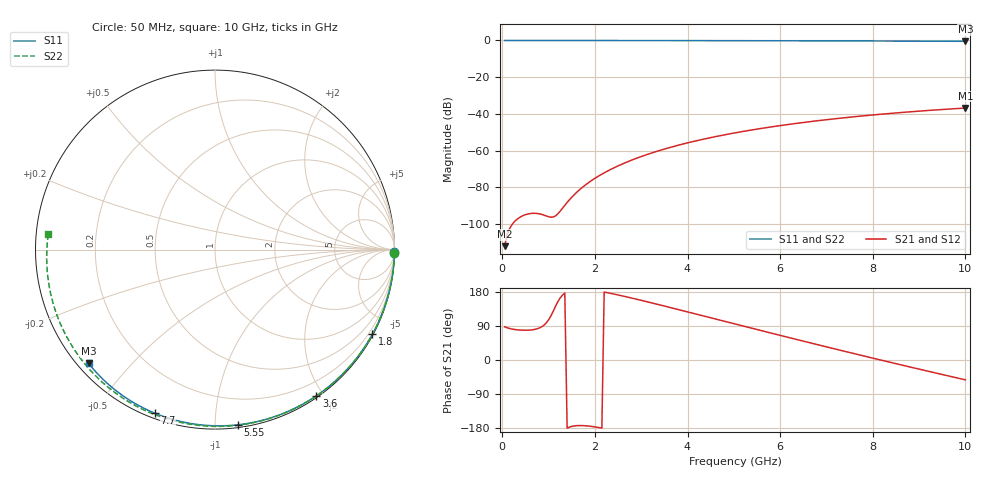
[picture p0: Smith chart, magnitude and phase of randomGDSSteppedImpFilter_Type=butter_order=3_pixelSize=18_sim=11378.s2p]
! freq	dB(S11)	phase(S11)	dB(S12)	phase(S12)
!  dB(S21)	phase(S21)	dB(S22)	phase(S22)
!S-par simulation data
#  GHz  S  DB  R 50
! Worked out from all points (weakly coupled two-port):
!   200 points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, 50 MHz to 10 GHz, reference 50 ohm
!   highest |S21| = -36.84 dB at 10 GHz (marker M1); lowest = -112.1 dB at 50 MHz (marker M2)
!   lowest |S11| = -0.5 dB at 10 GHz (marker M3), VSWR 37.00, Z = 1.55 - j19.2 ohm
!   |S11| at or under -10 dB: nowhere
!   |S22| runs from -0.6 to 0.0 dB; largest |S21 - S12| = 0
!   S11 on the Smith chart (normalised r, x): 50 MHz: open; 1.8 GHz: 0.03, -3.97; 3.6 GHz: 0.02, -1.91; 5.55 GHz: 0.02, -1.14; 7.7 GHz: 0.02, -0.70; 10 GHz: 0.03, -0.38
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0.05  -0.00 -0.8  -112.11 87.5  -112.11 87.5  -0.00 -1.0
0.45  -0.01 -7.2  -95.44 78.6  -95.44 78.6  -0.01 -9.3
0.85  -0.02 -13.5  -94.80 87.6  -94.80 87.6  -0.02 -17.5
1.25  -0.02 -19.8  -93.01 163.8  -93.01 163.8  -0.03 -25.6
1.7  -0.03 -26.8  -80.66 -173.0  -80.66 -173.0  -0.04 -34.7
1.75  -0.04 -27.5  -79.63 -173.2  -79.63 -173.2  -0.05 -35.7
1.8  -0.04 -28.3  -78.64 -173.6  -78.64 -173.6  -0.05 -36.7
2.1  -0.04 -32.9  -73.59 -178.5  -73.59 -178.5  -0.05 -42.6
2.5  -0.05 -39.0  -68.35 171.7  -68.35 171.7  -0.06 -50.4
2.9  -0.06 -45.0  -64.18 160.4  -64.18 160.4  -0.08 -58.1
3.4  -0.07 -52.4  -59.94 145.5  -59.94 145.5  -0.09 -67.6
3.6  -0.07 -55.3  -58.46 139.3  -58.46 139.3  -0.10 -71.3
4.3  -0.09 -65.3  -54.04 117.6  -54.04 117.6  -0.12 -84.1
5.05  -0.12 -75.7  -50.24 94.3  -50.24 94.3  -0.15 -97.5
5.55  -0.14 -82.5  -48.11 78.8  -48.11 78.8  -0.18 -106.2
6.1  -0.16 -89.8  -46.05 61.9  -46.05 61.9  -0.21 -115.7
6.7  -0.19 -97.5  -44.08 43.7  -44.08 43.7  -0.25 -126.0
7.7  -0.25 -110.1  -41.32 13.7  -41.32 13.7  -0.33 -143.2
8.35  -0.30 -118.1  -39.81 -5.3  -39.81 -5.3  -0.40 -154.6
9.2  -0.38 -128.4  -38.14 -29.8  -38.14 -29.8  -0.50 -170.0
9.6  -0.42 -133.2  -37.46 -41.1  -37.46 -41.1  -0.55 -177.6
10  -0.47 -138.0  -36.84 -52.3  -36.84 -52.3  -0.61 174.6
